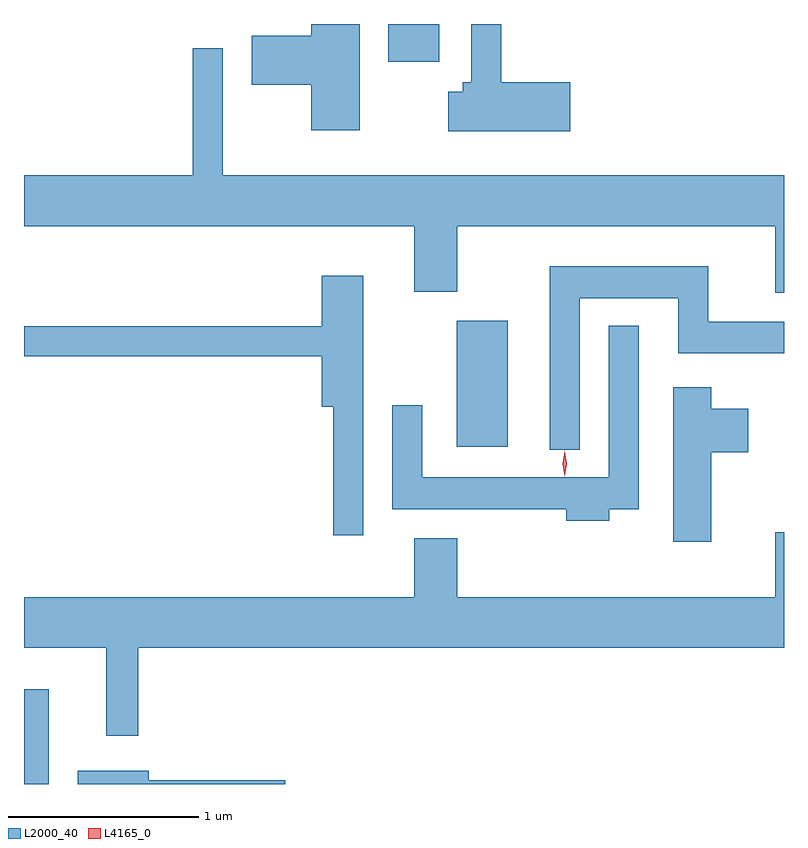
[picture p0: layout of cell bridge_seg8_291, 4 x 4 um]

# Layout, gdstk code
import gdstk
lib = gdstk.Library(unit=1e-6, precision=1e-09)
def R(c, l, rs):  # rectangles x0, y0, x1, y1
    for r in rs: c.add(gdstk.rectangle(r[:2], r[2:], *l))
def P(c, l, *ps):  # polygons
    for p in ps: c.add(gdstk.Polygon(p, *l))
L2000_40 = (2000, 40)
L4165_0 = (4165, 0)

bridge_seg8_291 = lib.new_cell('bridge_seg8_291')
R(bridge_seg8_291, L2000_40, [(1388.108,1809.06,1388.239,1809.558), (1390.386,1810.836,1390.654,1811.499), (1390.026,1812.861,1390.294,1813.06)])
P(bridge_seg8_291, L2000_40, [(1390.984,1812.754),(1390.619,1812.754),(1390.619,1813.06),(1390.461,1813.06),(1390.461,1812.754),(1390.416,1812.754),(1390.416,1812.704),(1390.341,1812.704),(1390.341,1812.496),(1390.984,1812.496)],
  [(1389.874,1813.06),(1389.621,1813.06),(1389.621,1812.999),(1389.306,1812.999),(1389.306,1812.741),(1389.621,1812.741),(1389.621,1812.501),(1389.874,1812.501)],
  [(1392.108,1812.264),(1389.154,1812.264),(1389.154,1812.933),(1388.996,1812.933),(1388.996,1812.264),(1388.108,1812.264),(1388.108,1811.996),(1390.161,1811.996),(1390.161,1811.651),(1390.389,1811.651),(1390.389,1811.996),(1392.061,1811.996),(1392.061,1811.646),(1392.108,1811.646)],
  [(1391.034,1811.616),(1391.551,1811.616),(1391.551,1811.326),(1392.108,1811.326),(1392.108,1811.494),(1391.709,1811.494),(1391.709,1811.784),(1390.876,1811.784),(1390.876,1810.818),(1391.034,1810.818)],
  [(1389.894,1811.734),(1389.676,1811.734),(1389.676,1811.469),(1388.108,1811.469),(1388.108,1811.311),(1389.676,1811.311),(1389.676,1811.046),(1389.736,1811.046),(1389.736,1810.368),(1389.894,1810.368)],
  [(1391.189,1810.506),(1391.344,1810.506),(1391.344,1811.473),(1391.186,1811.473),(1391.186,1810.674),(1390.204,1810.674),(1390.204,1811.053),(1390.046,1811.053),(1390.046,1810.506),(1390.961,1810.506),(1390.961,1810.446),(1391.189,1810.446)],
  [(1391.724,1810.806),(1391.919,1810.806),(1391.919,1811.034),(1391.724,1811.034),(1391.724,1811.149),(1391.526,1811.149),(1391.526,1810.336),(1391.724,1810.336)],
  [(1388.709,1809.776),(1392.108,1809.776),(1392.108,1810.384),(1392.061,1810.384),(1392.061,1810.044),(1390.389,1810.044),(1390.389,1810.354),(1390.161,1810.354),(1390.161,1810.044),(1388.108,1810.044),(1388.108,1809.776),(1388.541,1809.776),(1388.541,1809.313),(1388.709,1809.313)],
  [(1389.484,1809.079),(1388.764,1809.079),(1388.764,1809.129),(1388.391,1809.129),(1388.391,1809.06),(1389.484,1809.06)])
P(bridge_seg8_291, L4165_0, [(1390.954,1810.679),(1390.954,1810.68),(1390.944,1810.746),(1390.954,1810.812),(1390.954,1810.813),(1390.954,1810.812),(1390.964,1810.746),(1390.955,1810.68)])

lib.write_gds('bridge_seg8_291.gds')
